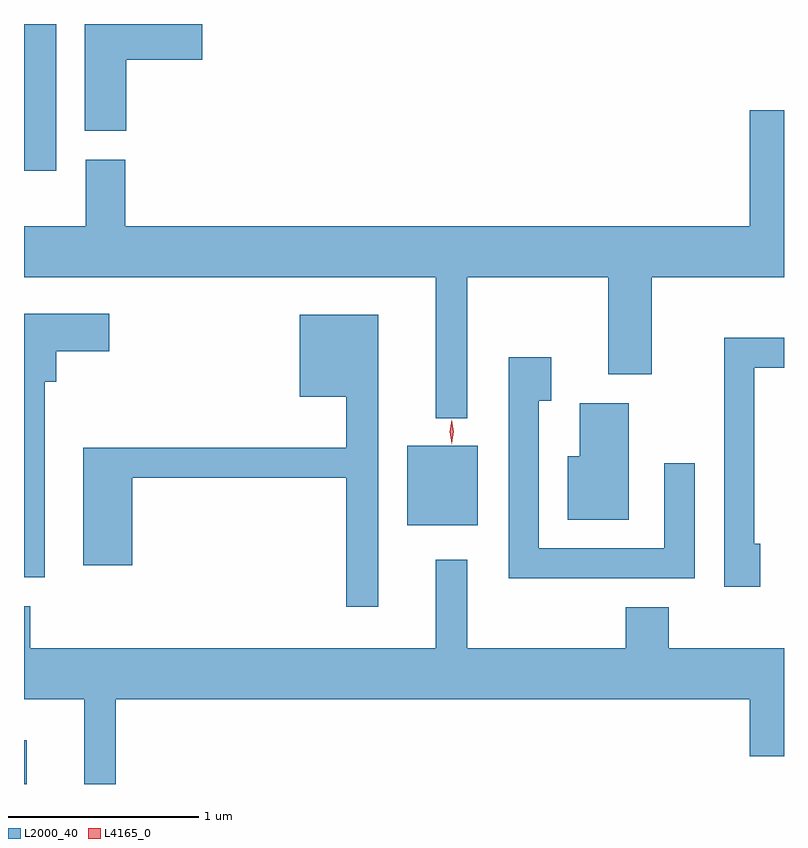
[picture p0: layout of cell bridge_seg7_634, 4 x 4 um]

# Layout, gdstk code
import gdstk
lib = gdstk.Library(unit=1e-6, precision=1e-09)
def R(c, l, rs):  # rectangles x0, y0, x1, y1
    for r in rs: c.add(gdstk.rectangle(r[:2], r[2:], *l))
def P(c, l, *ps):  # polygons
    for p in ps: c.add(gdstk.Polygon(p, *l))
L2000_40 = (2000, 40)
L4165_0 = (4165, 0)

bridge_seg7_634 = lib.new_cell('bridge_seg7_634')
R(bridge_seg7_634, L2000_40, [(630.835,1671.689,630.849,1671.918), (632.851,1673.051,633.224,1673.469), (630.835,1674.916,631.004,1675.689)])
P(bridge_seg7_634, L2000_40, [(631.374,1675.501),(631.774,1675.501),(631.774,1675.689),(631.156,1675.689),(631.156,1675.126),(631.374,1675.126)],
  [(631.161,1674.974),(631.161,1674.624),(630.835,1674.624),(630.835,1674.356),(633.001,1674.356),(633.001,1673.613),(633.169,1673.613),(633.169,1674.356),(633.911,1674.356),(633.911,1673.846),(634.139,1673.846),(634.139,1674.356),(634.835,1674.356),(634.835,1675.234),(634.656,1675.234),(634.656,1674.624),(631.369,1674.624),(631.369,1674.974)],
  [(630.944,1673.806),(631.004,1673.806),(631.004,1673.966),(631.284,1673.966),(631.284,1674.164),(630.835,1674.164),(630.835,1672.776),(630.944,1672.776)],
  [(632.699,1674.159),(632.286,1674.159),(632.286,1673.726),(632.531,1673.726),(632.531,1673.459),(631.146,1673.459),(631.146,1672.841),(631.404,1672.841),(631.404,1673.301),(632.531,1673.301),(632.531,1672.623),(632.699,1672.623)],
  [(634.709,1672.954),(634.679,1672.954),(634.679,1673.881),(634.835,1673.881),(634.835,1674.039),(634.521,1674.039),(634.521,1672.726),(634.709,1672.726)],
  [(634.364,1673.378),(634.206,1673.378),(634.206,1672.929),(633.544,1672.929),(633.544,1673.706),(633.609,1673.706),(633.609,1673.934),(633.386,1673.934),(633.386,1672.771),(634.364,1672.771)],
  [(634.019,1673.694),(633.761,1673.694),(633.761,1673.414),(633.696,1673.414),(633.696,1673.081),(634.019,1673.081)],
  [(631.319,1672.136),(634.656,1672.136),(634.656,1671.836),(634.835,1671.836),(634.835,1672.404),(634.229,1672.404),(634.229,1672.619),(634.001,1672.619),(634.001,1672.404),(633.169,1672.404),(633.169,1672.868),(633.001,1672.868),(633.001,1672.404),(630.869,1672.404),(630.869,1672.624),(630.835,1672.624),(630.835,1672.136),(631.151,1672.136),(631.151,1671.689),(631.319,1671.689)])
P(bridge_seg7_634, L4165_0, [(633.086,1673.478),(633.086,1673.479),(633.076,1673.543),(633.085,1673.607),(633.085,1673.607),(633.086,1673.607),(633.096,1673.543),(633.087,1673.479)])

lib.write_gds('bridge_seg7_634.gds')
